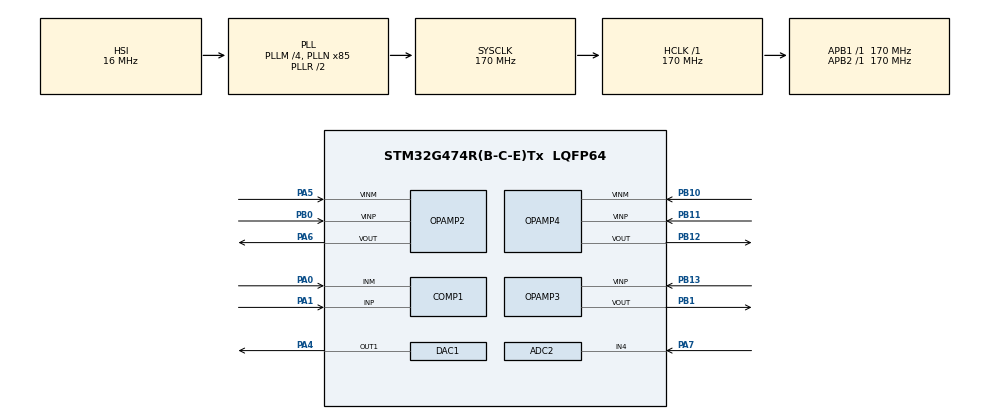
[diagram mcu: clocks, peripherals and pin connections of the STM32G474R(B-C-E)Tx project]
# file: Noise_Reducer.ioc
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ADC2.Channel-3\#ChannelRegularConversion=ADC_CHANNEL_4
ADC2.DMAContinuousRequests=ENABLE
ADC2.ExternalTrigConv=ADC_EXTERNALTRIG_T2_TRGO
ADC2.NbrOfConversion=1
ADC2.NbrOfConversionFlag=1
ADC2.OffsetNumber-3\#ChannelRegularConversion=ADC_OFFSET_NONE
ADC2.Rank-3\#ChannelRegularConversion=1
ADC2.SamplingTime-3\#ChannelRegularConversion=ADC_SAMPLETIME_2CYCLES_5
COMP1.Hysteresis=COMP_HYSTERESIS_HIGH
DAC1.DAC_Trigger_OUT1-DAC_OUT1=DAC_TRIGGER_T2_TRGO
Dma.ADC2.1.Direction=DMA_PERIPH_TO_MEMORY
Dma.ADC2.1.EventEnable=DISABLE
Dma.ADC2.1.Instance=DMA1_Channel1
Dma.ADC2.1.MemDataAlignment=DMA_MDATAALIGN_HALFWORD
Dma.ADC2.1.MemInc=DMA_MINC_ENABLE
Dma.ADC2.1.Mode=DMA_CIRCULAR
Dma.ADC2.1.PeriphDataAlignment=DMA_PDATAALIGN_HALFWORD
Dma.ADC2.1.PeriphInc=DMA_PINC_DISABLE
Dma.ADC2.1.Polarity=HAL_DMAMUX_REQ_GEN_RISING
Dma.ADC2.1.Priority=DMA_PRIORITY_LOW
Dma.ADC2.1.RequestNumber=1
Dma.ADC2.1.SignalID=NONE
Dma.ADC2.1.SyncEnable=DISABLE
Dma.ADC2.1.SyncPolarity=HAL_DMAMUX_SYNC_NO_EVENT
Dma.ADC2.1.SyncRequestNumber=1
Dma.ADC2.1.SyncSignalID=NONE
Dma.DAC1_CH1.0.Direction=DMA_MEMORY_TO_PERIPH
Dma.DAC1_CH1.0.EventEnable=DISABLE
Dma.DAC1_CH1.0.Instance=DMA1_Channel3
Dma.DAC1_CH1.0.MemDataAlignment=DMA_MDATAALIGN_HALFWORD
Dma.DAC1_CH1.0.MemInc=DMA_MINC_ENABLE
Dma.DAC1_CH1.0.Mode=DMA_CIRCULAR
Dma.DAC1_CH1.0.PeriphDataAlignment=DMA_PDATAALIGN_WORD
Dma.DAC1_CH1.0.PeriphInc=DMA_PINC_DISABLE
Dma.DAC1_CH1.0.Polarity=HAL_DMAMUX_REQ_GEN_RISING
Dma.DAC1_CH1.0.Priority=DMA_PRIORITY_HIGH
Dma.DAC1_CH1.0.RequestNumber=1
Dma.DAC1_CH1.0.SignalID=NONE
Dma.DAC1_CH1.0.SyncEnable=DISABLE
Dma.DAC1_CH1.0.SyncPolarity=HAL_DMAMUX_SYNC_NO_EVENT
Dma.DAC1_CH1.0.SyncRequestNumber=1
Dma.DAC1_CH1.0.SyncSignalID=NONE
Dma.Request0=DAC1_CH1
Dma.Request1=ADC2
Dma.Request2=TIM5_CH1
Dma.TIM5_CH1.2.Direction=DMA_PERIPH_TO_MEMORY
Dma.TIM5_CH1.2.EventEnable=DISABLE
Dma.TIM5_CH1.2.Instance=DMA1_Channel2
Dma.TIM5_CH1.2.MemDataAlignment=DMA_MDATAALIGN_WORD
Dma.TIM5_CH1.2.MemInc=DMA_MINC_ENABLE
Dma.TIM5_CH1.2.Mode=DMA_CIRCULAR
Dma.TIM5_CH1.2.PeriphDataAlignment=DMA_PDATAALIGN_WORD
Dma.TIM5_CH1.2.PeriphInc=DMA_PINC_DISABLE
Dma.TIM5_CH1.2.Polarity=HAL_DMAMUX_REQ_GEN_RISING
Dma.TIM5_CH1.2.Priority=DMA_PRIORITY_LOW
Dma.TIM5_CH1.2.RequestNumber=1
Dma.TIM5_CH1.2.SignalID=NONE
Dma.TIM5_CH1.2.SyncEnable=DISABLE
Dma.TIM5_CH1.2.SyncPolarity=HAL_DMAMUX_SYNC_NO_EVENT
Dma.TIM5_CH1.2.SyncRequestNumber=1
Dma.TIM5_CH1.2.SyncSignalID=NONE
Mcu.Family=STM32G4
Mcu.Name=STM32G474R(B-C-E)Tx
Mcu.Package=LQFP64
NVIC.DMA1_Channel1_IRQn=true\:0\:0\:false\:false\:true\:false\:true\:true
NVIC.DMA1_Channel2_IRQn=true\:0\:0\:false\:false\:true\:false\:true\:true
NVIC.DMA1_Channel3_IRQn=true\:0\:0\:false\:false\:true\:false\:true\:true
NVIC.PriorityGroup=NVIC_PRIORITYGROUP_4
PA0.Mode=INM
PA0.Signal=COMP1_INM
PA1.Mode=INP
PA1.Signal=COMP1_INP
PA13.Mode=Serial_Wire
PA13.Signal=SYS_JTMS-SWDIO
PA14.Mode=Serial_Wire
PA14.Signal=SYS_JTCK-SWCLK
PA4.Signal=COMP_DAC11_group
PA5.Mode=Standalone
PA5.Signal=OPAMP2_VINM
PA6.Mode=Standalone
PA6.Signal=OPAMP2_VOUT
PA7.Mode=IN4-Single-Ended
PA7.Signal=ADC2_IN4
PB0.Mode=Standalone
PB0.Signal=OPAMP2_VINP
PB1.Mode=Follower
PB1.Signal=OPAMP3_VOUT
PB10.Mode=Standalone
PB10.Signal=OPAMP4_VINM
PB11.Mode=Standalone
PB11.Signal=OPAMP4_VINP
PB12.Mode=Standalone
PB12.Signal=OPAMP4_VOUT
PB13.Mode=Follower
PB13.Signal=OPAMP3_VINP
ProjectManager.HeapSize=0x200
ProjectManager.StackSize=0x400
ProjectManager.TargetToolchain=CMake
RCC.ADC12Freq_Value=170000000
RCC.ADC345Freq_Value=170000000
RCC.AHBFreq_Value=170000000
RCC.APB1Freq_Value=170000000
RCC.APB1TimFreq_Value=170000000
RCC.APB2Freq_Value=170000000
RCC.APB2TimFreq_Value=170000000
RCC.CortexFreq_Value=170000000
RCC.EXTERNAL_CLOCK_VALUE=12288000
RCC.HCLKFreq_Value=170000000
RCC.HSE_VALUE=8000000
RCC.HSI48_VALUE=48000000
RCC.HSI_VALUE=16000000
RCC.LSE_VALUE=32768
RCC.PLLM=RCC_PLLM_DIV4
RCC.PLLN=85
RCC.SYSCLKFreq_VALUE=170000000
RCC.SYSCLKSource=RCC_SYSCLKSOURCE_PLLCLK
RCC.USBFreq_Value=170000000
RCC.VCOOutputFreq_Value=340000000
SH.COMP_DAC11_group.0=DAC1_OUT1,DAC_OUT1
TIM2.AutoReloadPreload=TIM_AUTORELOAD_PRELOAD_ENABLE
TIM2.PeriodNoDither=1700 - 1
TIM2.TIM_MasterOutputTrigger=TIM_TRGO_UPDATE
TIM2.TIM_MasterSlaveMode=TIM_MASTERSLAVEMODE_ENABLE
TIM5.AutoReloadPreload=TIM_AUTORELOAD_PRELOAD_ENABLE
TIM5.Channel-Input_Capture1_from_TI1_REMAP_TIM5=TIM_CHANNEL_1
TIM5.ICFilter_CH1=10
TIM5.TIM5_TI1_REMAP-Input_Capture1_from_TI1_REMAP_TIM5=TIM_TIM5_TI1_COMP1
VP_CORDIC_VS_CORDIC.Mode=CORDIC_Activate
VP_FMAC_VS_FMAC.Mode=FMAC_Activate
VP_SYS_VS_DBSignals.Mode=DisableDeadBatterySignals
VP_TIM2_VS_ClockSourceINT.Mode=Internal
VP_TIM5_VS_ClockSourceINT.Mode=Internal
VP_TIM5_VS_NoInput1.Mode=Input_Capture1_from_TI1_REMAP_TIM5
board=custom

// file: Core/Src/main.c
/* USER CODE BEGIN Header */
/**
  ******************************************************************************
  * @file           : main.c
  * @brief          : Main program body
  ******************************************************************************
  * @attention
  *
  * Copyright (c) 2026 STMicroelectronics.
  * All rights reserved.
  *
  * This software is licensed under terms that can be found in the LICENSE file
  * in the root directory of this software component.
  * If no LICENSE file comes with this software, it is provided AS-IS.
  *
  ******************************************************************************
  */
/* USER CODE END Header */
#include "main.h"
#include "adc.h"
#include "comp.h"
#include "cordic.h"
#include "dac.h"
#include "dma.h"
#include "fmac.h"
#include "opamp.h"
#include "tim.h"
#include "gpio.h"

/* USER CODE BEGIN Includes */
#include "math.h"
#ifndef M_PI
#define M_PI 3.14159265358979323846
#endif
/* USER CODE END Includes */

/* USER CODE BEGIN PTD */
typedef enum {
    ANC_STATE_INIT = 0,         // 初始化
    ANC_STATE_MEASURE_BASE,     // 测量环境底噪
    ANC_STATE_SEARCH_PHASE,     // 寻找 LTI 系统的相移补偿角
    ANC_STATE_TRACKING          // 锁定相位并持续降噪
} ANC_SM_t;

typedef struct {
    float target_freq;   // 动态追踪的单音频率 (Hz)
    float phase;         // 实时相位累加器，范围[0, 2π)
    float phase_step;    // 相位步进
    float I_out;         // DAC 输出 I 分量
    float Q_out;         // DAC 输出 Q 分量
    float Kp;
    float Ki;
    float I_integral;
    float Q_integral;

    // --- LTI 相位自适应与状态机变量 ---
    ANC_SM_t state;
    float phase_comp;    // LTI 系统相位补偿角 (解耦 I/Q)
    uint32_t state_timer;
    float current_power; // 当前帧的误差信号能量
    float base_power;    // 未开启降噪时的参考底噪能量
    float best_power;    // 寻优时记录的最佳能量
    float best_phase;    // 寻优时记录的最佳相位
    uint8_t test_idx;    // 寻优测试索引 (0~3)
} ANC_State_t;
/* USER CODE END PTD */

/* USER CODE BEGIN PD */
#define SAMPLE_RATE         100000.0f
#define BUFFER_SIZE         256
#define HALF_BUFFER_SIZE    (BUFFER_SIZE / 2)
#define DAC_MID_VALUE       2048
#define ADC_MID_VALUE       2048.0f

#define ANC_KP          0.02f
#define ANC_KI          0.001f
#define ANC_OUT_LIMIT   2000.0f      // 扩大输出限幅以对抗 LTI 衰减，最大不超过 2047
#define ANC_INT_LIMIT   (ANC_OUT_LIMIT / ANC_KI)
#define TIM5_CLOCK_HZ   170000000UL
/* USER CODE END PD */

/* USER CODE BEGIN PV */
extern CORDIC_HandleTypeDef hcordic;
extern TIM_HandleTypeDef htim2;
extern TIM_HandleTypeDef htim5;
extern ADC_HandleTypeDef hadc2;
extern DAC_HandleTypeDef hdac1;
extern OPAMP_HandleTypeDef hopamp2;
extern OPAMP_HandleTypeDef hopamp3;
extern COMP_HandleTypeDef hcomp1;

uint16_t adc_buffer[BUFFER_SIZE];
uint16_t dac_buffer[BUFFER_SIZE];
uint32_t tim5_ic_buffer[2];

static ANC_State_t anc = {
    .target_freq  = 1000.0f,
    .phase        = 0.0f,
    .phase_step   = 2.0f * (float)M_PI * 1000.0f / SAMPLE_RATE,
    .I_out        = 0.0f,
    .Q_out        = 0.0f,
    .Kp           = ANC_KP,
    .Ki           = ANC_KI,
    .I_integral   = 0.0f,
    .Q_integral   = 0.0f,
    .state        = ANC_STATE_INIT,
    .phase_comp   = 0.0f,
    .current_power= 0.0f
};
/* USER CODE END PV */

void SystemClock_Config(void);
/* USER CODE BEGIN PFP */
static float clampf(float val, float lo, float hi);
static void ANC_Control_Loop(uint16_t *pADC_Data, uint16_t *pDAC_Data, uint16_t length);
static void update_freq(uint32_t timer_diff);
static void CORDIC_Config_Cosine(void);
/* USER CODE END PFP */

/* USER CODE BEGIN 0 */

static float clampf(float val, float lo, float hi) {
    if (val < lo) return lo;
    if (val > hi) return hi;
    return val;
}

static void CORDIC_Config_Cosine(void) {
    CORDIC->CSR = (0x0UL  << CORDIC_CSR_FUNC_Pos)
                | (0x6UL  << CORDIC_CSR_PRECISION_Pos)
                | (0x0UL  << CORDIC_CSR_SCALE_Pos)
                | (0x1UL  << CORDIC_CSR_NRES_Pos)
                | (0x0UL  << CORDIC_CSR_NARGS_Pos)
                | (0x0UL  << CORDIC_CSR_RESSIZE_Pos)
                | (0x0UL  << CORDIC_CSR_ARGSIZE_Pos);
}

static void update_freq(uint32_t timer_diff) {
    if (timer_diff == 0) return;
    float new_freq = (float)TIM5_CLOCK_HZ / (float)timer_diff;

    // 限制在合理频率范围，忽略错误捕获
    if (new_freq < 20.0f || new_freq > 20000.0f) return;

    // 如果频率发生剧烈变化 (>10%)，LTI系统的相移也会改变，重新触发寻优
    if (fabsf(new_freq - anc.target_freq) > anc.target_freq * 0.1f) {
        anc.state = ANC_STATE_INIT;
    }

    anc.target_freq = 0.9f * anc.target_freq + 0.1f * new_freq;
    anc.phase_step  = 2.0f * (float)M_PI * anc.target_freq / SAMPLE_RATE;
}

static void ANC_Control_Loop(uint16_t *pADC_Data, uint16_t *pDAC_Data, uint16_t length) {
    float I_err_acc = 0.0f;
    float Q_err_acc = 0.0f;
    float frame_energy = 0.0f;

    /* --- 1. 高速信号合成与解调 (Sample by Sample) --- */
    for (uint16_t i = 0; i < length; i++) {
        float error_signal = (float)pADC_Data[i] - ADC_MID_VALUE;
        frame_energy += error_signal * error_signal;

        float mapped_phase = anc.phase - (float)M_PI;
        int32_t input_q31  = (int32_t)(mapped_phase / (float)M_PI * 2147483647.0f);

        CORDIC->WDATA = (uint32_t)input_q31;
        while (!(CORDIC->CSR & CORDIC_CSR_RRDY));
        float local_cos = (float)((int32_t)CORDIC->RDATA) / 2147483648.0f;
        float local_sin = (float)((int32_t)CORDIC->RDATA) / 2147483648.0f;

        I_err_acc += error_signal * local_cos;
        Q_err_acc += error_signal * local_sin;

        float   dac_f   = anc.I_out * local_cos + anc.Q_out * local_sin;
        int32_t dac_out = (int32_t)dac_f + DAC_MID_VALUE;

        if (dac_out < 0)    dac_out = 0;
        if (dac_out > 4095) dac_out = 4095;
        pDAC_Data[i] = (uint16_t)dac_out;

        anc.phase += anc.phase_step;
        if (anc.phase >= 2.0f * (float)M_PI) anc.phase -= 2.0f * (float)M_PI;
    }

    /* --- 2. 帧数据平滑 --- */
    float inv_len = 1.0f / (float)length;
    I_err_acc *= inv_len;
    Q_err_acc *= inv_len;
    float mean_power = frame_energy * inv_len;
    anc.current_power = 0.8f * anc.current_power + 0.2f * mean_power; // 简单的低通滤波

    /* --- 3. 自适应 LTI 寻优与 PI 闭环控制 (Frame by Frame) --- */
    switch (anc.state) {
        case ANC_STATE_INIT:
            anc.I_out = 0.0f; anc.Q_out = 0.0f;
            anc.I_integral = 0.0f; anc.Q_integral = 0.0f;
            anc.state_timer = 0;
            anc.state = ANC_STATE_MEASURE_BASE;
            break;

        case ANC_STATE_MEASURE_BASE:
            // 等待约 25ms 测定未经降噪的原始 LTI 环境底噪
            if (++anc.state_timer > 20) {
                anc.base_power = anc.current_power;
                anc.state = ANC_STATE_SEARCH_PHASE;
                anc.test_idx = 0;
                anc.state_timer = 0;
                anc.best_power = 1e12f; // 初始一个极大的值
            }
            break;

        case ANC_STATE_SEARCH_PHASE:
        case ANC_STATE_TRACKING:
        {
            // 在寻优状态中，我们每隔 30 帧 (约38ms) 切换一次相位
            if (anc.state == ANC_STATE_SEARCH_PHASE) {
                anc.phase_comp = anc.test_idx * (M_PI / 2.0f); // 测试 0, 90, 180, 270 度
                anc.state_timer++;

                if (anc.state_timer == 30) {
                    if (anc.current_power < anc.best_power) {
                        anc.best_power = anc.current_power;
                        anc.best_phase = anc.phase_comp;
                    }
                    // 如果能量下降到了原来的一半以下，说明这个相位能让 PI 稳定下降，立刻锁定！
                    if (anc.current_power < anc.base_power * 0.5f) {
                        anc.state = ANC_STATE_TRACKING;
                    } else {
                        anc.test_idx++;
                        if (anc.test_idx >= 4) {
                            // 4个方向都测完了，挑一个最好的强行进入追踪
                            anc.phase_comp = anc.best_phase;
                            anc.state = ANC_STATE_TRACKING;
                        } else {
                            // 准备测试下一个相位，重置积分器
                            anc.I_integral = 0; anc.Q_integral = 0;
                            anc.I_out = 0; anc.Q_out = 0;
                            anc.state_timer = 0;
                        }
                    }
                }
            } else {
                // TRACKING 状态：监视系统是否再次发散
                if (anc.current_power > anc.base_power * 1.5f) {
                    anc.state = ANC_STATE_INIT; // 异常发散，重新寻优
                }
            }

            /* --- 核心：坐标旋转解耦 ---
             * 通过 phase_comp 逆向旋转误差向量，抵消外部 LTI 的相移
             * 使得 I/Q 通道重新变得独立、正交，恢复 PI 算法的稳定性
             */
            float cos_c = cosf(anc.phase_comp);
            float sin_c = sinf(anc.phase_comp);
            float I_rot = I_err_acc * cos_c + Q_err_acc * sin_c;
            float Q_rot = Q_err_acc * cos_c - I_err_acc * sin_c;

            anc.I_integral = clampf(anc.I_integral + I_rot * anc.Ki, -ANC_INT_LIMIT, ANC_INT_LIMIT);
            anc.Q_integral = clampf(anc.Q_integral + Q_rot * anc.Ki, -ANC_INT_LIMIT, ANC_INT_LIMIT);

            anc.I_out = clampf(anc.I_integral + I_rot * anc.Kp, -ANC_OUT_LIMIT, ANC_OUT_LIMIT);
            anc.Q_out = clampf(anc.Q_integral + Q_rot * anc.Kp, -ANC_OUT_LIMIT, ANC_OUT_LIMIT);
            break;
        }
    }
}
/* USER CODE END 0 */

int main(void)
{

  /* MCU Configuration--------------------------------------------------------*/

  /* Reset of all peripherals, Initializes the Flash interface and the Systick. */
  HAL_Init();

  /* Configure the system clock */
  SystemClock_Config();

  /* Initialize all configured peripherals */
  MX_GPIO_Init();
  MX_DMA_Init();
  MX_DAC1_Init();
  MX_CORDIC_Init();
  MX_TIM2_Init();
  MX_ADC2_Init();
  MX_OPAMP2_Init();
  MX_OPAMP3_Init();
  MX_COMP1_Init();
  MX_TIM5_Init();
  MX_FMAC_Init();
  MX_OPAMP4_Init();
  /* USER CODE BEGIN 2 */

  CORDIC_Config_Cosine();

  HAL_OPAMP_Start(&hopamp2);
  HAL_OPAMP_Start(&hopamp3);
  HAL_COMP_Start(&hcomp1);
    HAL_OPAMP_Start(&hopamp4);
  for (uint16_t i = 0; i < BUFFER_SIZE; i++) {
      dac_buffer[i] = DAC_MID_VALUE;
  }

  HAL_DAC_Start_DMA(&hdac1, DAC_CHANNEL_1, (uint32_t *)dac_buffer, BUFFER_SIZE, DAC_ALIGN_12B_R);
  HAL_ADC_Start_DMA(&hadc2, (uint32_t *)adc_buffer, BUFFER_SIZE);
  HAL_TIM_IC_Start_DMA(&htim5, TIM_CHANNEL_1, tim5_ic_buffer, 2);
  HAL_TIM_Base_Start(&htim2);

  /* USER CODE END 2 */

  /* Infinite loop */
  /* USER CODE BEGIN WHILE */
  while (1)
  {
    /* 所有实时处理均在 DMA 中断回调中完成，主循环可用于低优先级任务 */

    /* USER CODE END WHILE */

  }
}

void SystemClock_Config(void)
{
  RCC_OscInitTypeDef RCC_OscInitStruct = {0};
  RCC_ClkInitTypeDef RCC_ClkInitStruct = {0};

  /** Configure the main internal regulator output voltage
  */
  HAL_PWREx_ControlVoltageScaling(PWR_REGULATOR_VOLTAGE_SCALE1_BOOST);

  /** Initializes the RCC Oscillators according to the specified parameters
  * in the RCC_OscInitTypeDef structure.
  */
  RCC_OscInitStruct.OscillatorType = RCC_OSCILLATORTYPE_HSI;
  RCC_OscInitStruct.HSIState = RCC_HSI_ON;
  RCC_OscInitStruct.HSICalibrationValue = RCC_HSICALIBRATION_DEFAULT;
  RCC_OscInitStruct.PLL.PLLState = RCC_PLL_ON;
  RCC_OscInitStruct.PLL.PLLSource = RCC_PLLSOURCE_HSI;
  RCC_OscInitStruct.PLL.PLLM = RCC_PLLM_DIV4;
  RCC_OscInitStruct.PLL.PLLN = 85;
  RCC_OscInitStruct.PLL.PLLP = RCC_PLLP_DIV2;
  RCC_OscInitStruct.PLL.PLLQ = RCC_PLLQ_DIV2;
  RCC_OscInitStruct.PLL.PLLR = RCC_PLLR_DIV2;
  if (HAL_RCC_OscConfig(&RCC_OscInitStruct) != HAL_OK)
  {
    Error_Handler();
  }

  /** Initializes the CPU, AHB and APB buses clocks
  */
  RCC_ClkInitStruct.ClockType = RCC_CLOCKTYPE_HCLK|RCC_CLOCKTYPE_SYSCLK
                              |RCC_CLOCKTYPE_PCLK1|RCC_CLOCKTYPE_PCLK2;
  RCC_ClkInitStruct.SYSCLKSource = RCC_SYSCLKSOURCE_PLLCLK;
  RCC_ClkInitStruct.AHBCLKDivider = RCC_SYSCLK_DIV1;
  RCC_ClkInitStruct.APB1CLKDivider = RCC_HCLK_DIV1;
  RCC_ClkInitStruct.APB2CLKDivider = RCC_HCLK_DIV1;

  if (HAL_RCC_ClockConfig(&RCC_ClkInitStruct, FLASH_LATENCY_4) != HAL_OK)
  {
    Error_Handler();
  }
}

/* USER CODE BEGIN 4 */

void HAL_ADC_ConvHalfCpltCallback(ADC_HandleTypeDef *hadc) {
    if (hadc->Instance == ADC2) {
        ANC_Control_Loop(&adc_buffer[0], &dac_buffer[0], HALF_BUFFER_SIZE);
    }
}

void HAL_ADC_ConvCpltCallback(ADC_HandleTypeDef *hadc) {
    if (hadc->Instance == ADC2) {
        ANC_Control_Loop(&adc_buffer[HALF_BUFFER_SIZE], &dac_buffer[HALF_BUFFER_SIZE], HALF_BUFFER_SIZE);
    }
}

void HAL_TIM_IC_CaptureHalfCpltCallback(TIM_HandleTypeDef *htim) {
    if (htim->Instance == TIM5) {
        uint32_t diff = tim5_ic_buffer[0] - tim5_ic_buffer[1];
        update_freq(diff);
    }
}

void HAL_TIM_IC_CaptureCallback(TIM_HandleTypeDef *htim) {
    if (htim->Instance == TIM5) {
        uint32_t diff = tim5_ic_buffer[1] - tim5_ic_buffer[0];
        update_freq(diff);
    }
}
/* USER CODE END 4 */

void Error_Handler(void)
{
  __disable_irq();
  while (1)
  {
  }
}
